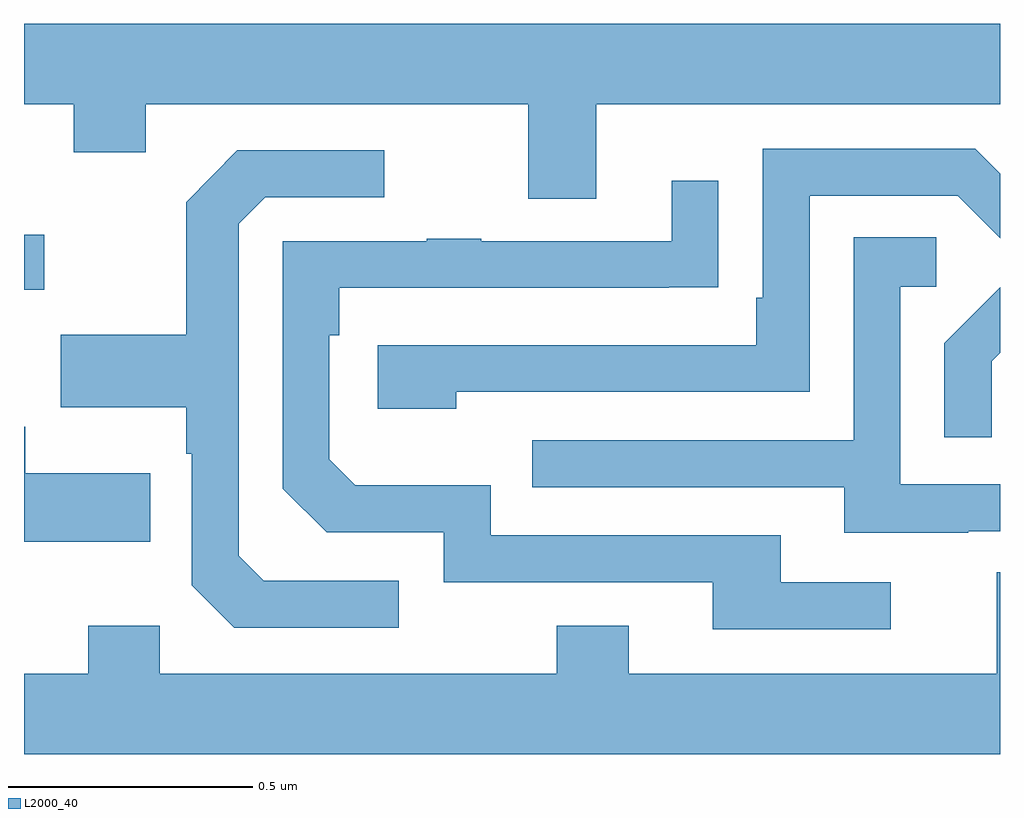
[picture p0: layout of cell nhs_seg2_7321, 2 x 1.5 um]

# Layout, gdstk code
import gdstk
lib = gdstk.Library(unit=1e-6, precision=1e-09)
def R(c, l, rs):  # rectangles x0, y0, x1, y1
    for r in rs: c.add(gdstk.rectangle(r[:2], r[2:], *l))
def P(c, l, *ps):  # polygons
    for p in ps: c.add(gdstk.Polygon(p, *l))
L2000_40 = (2000, 40)

nhs_seg2_7321 = lib.new_cell('nhs_seg2_7321')
R(nhs_seg2_7321, L2000_40, [(202,655.247,202.042,655.36)])
P(nhs_seg2_7321, L2000_40, [(203.173,655.628),(204,655.628),(204,655.792),(202,655.792),(202,655.628),(202.102,655.628),(202.102,655.529),(202.249,655.529),(202.249,655.628),(203.033,655.628),(203.033,655.434),(203.173,655.434)],
  [(202.886,655.038),(203.61,655.038),(203.61,655.44),(203.913,655.44),(204,655.353),(204,655.485),(203.949,655.536),(203.514,655.536),(203.514,655.231),(203.501,655.231),(203.501,655.134),(202.725,655.134),(202.725,655.004),(202.886,655.004)],
  [(202.768,654.651),(202.491,654.651),(202.44,654.702),(202.44,655.383),(202.494,655.437),(202.738,655.437),(202.738,655.533),(202.437,655.533),(202.332,655.427),(202.332,655.155),(202.075,655.155),(202.075,655.007),(202.332,655.007),(202.332,654.911),(202.344,654.911),(202.344,654.642),(202.431,654.555),(202.768,654.555)],
  [(203.776,654.648),(203.551,654.648),(203.551,654.744),(202.956,654.744),(202.956,654.847),(202.679,654.847),(202.626,654.9),(202.626,655.154),(202.646,655.154),(202.646,655.251),(203.321,655.251),(203.321,655.252),(203.423,655.252),(203.423,655.471),(203.327,655.471),(203.327,655.347),(202.937,655.347),(202.937,655.352),(202.825,655.352),(202.825,655.347),(202.53,655.347),(202.53,654.84),(202.62,654.75),(202.86,654.75),(202.86,654.648),(203.411,654.648),(203.411,654.552),(203.776,654.552)],
  [(203.935,654.753),(204,654.753),(204,654.849),(203.796,654.849),(203.796,655.254),(203.869,655.254),(203.869,655.355),(203.7,655.355),(203.7,654.939),(203.041,654.939),(203.041,654.843),(203.681,654.843),(203.681,654.749),(203.935,654.749)],
  [(203.983,655.101),(204,655.118),(204,655.252),(203.886,655.138),(203.886,654.945),(203.983,654.945)],
  [(202.259,654.871),(202.003,654.871),(202.003,654.967),(202,654.967),(202,654.731),(202.259,654.731)],
  [(204,654.668),(203.993,654.668),(203.993,654.46),(203.239,654.46),(203.239,654.559),(203.092,654.559),(203.092,654.46),(202.278,654.46),(202.278,654.559),(202.132,654.559),(202.132,654.46),(202,654.46),(202,654.296),(204,654.296)])

lib.write_gds('nhs_seg2_7321.gds')
